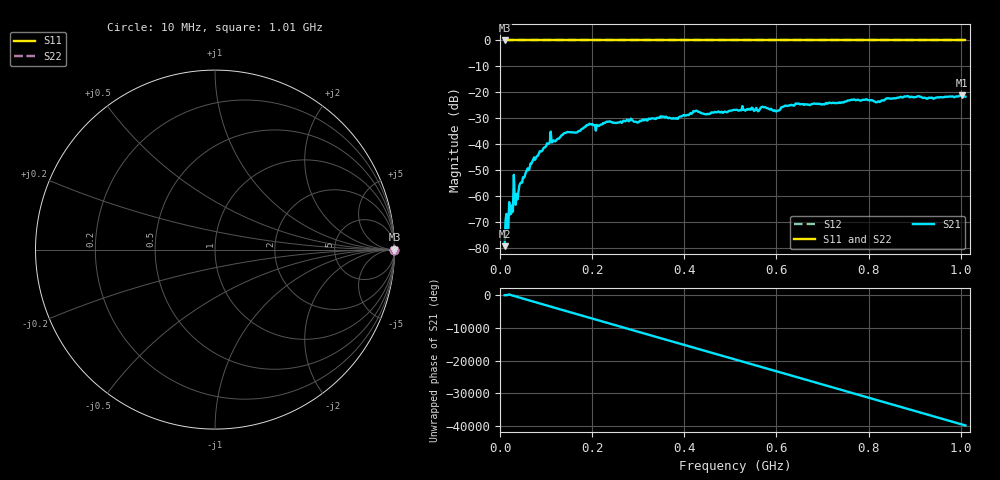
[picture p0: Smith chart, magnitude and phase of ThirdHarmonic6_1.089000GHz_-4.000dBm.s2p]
! 8/16/2025 10:05:49 AM
! C:\ANRITSUVNA\TEMP\TEMP.S2P
! CHANNEL.1
! TR.MEASUREMENT
! RAW.DATA
! RF.CORRECTION.OFF
! AVERAGING.OFF
! IF.BANDWIDTH: 5KHZ
! SWEEPTYPE:  FREQ.SWEEP(Linear)
! Reference Plane Port Info
! PORT:  PORT1  PORT2
! DISTANCE:  0  m  0  m
! TIME:  0  s  0  s
! PHASE.OFFSET:  0  deg.  0  deg.
! LOSS:  0  dB  0  dB
! REF.LOSS:  0  dB  0  dB
! REF.FREQ:  0  Hz  0  Hz
! Power Info
! POWER:  -20  dBm  -20  dBm
! EFF.POWER:  -20  dBm  -20  dBm
! SOURCE.ATTEN:  0  dB  0  dB
! TEST.ATTEN:  0  dB  0  dB
# GHZ S RI R 50.0
! FREQ.GHZ  S11RE  S11IM  S21RE  S21IM  S12RE  S12IM  S22RE  S22IM
!; PortSelection: Port_12
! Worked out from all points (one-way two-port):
!   501 points, 10 MHz to 1.01 GHz, reference 50 ohm
!   highest |S21| = -21.17 dB at 1.002 GHz (marker M1); lowest = -79.3 dB at 10 MHz (marker M2)
!   lowest |S11| = 0.0 dB at 10 MHz (marker M3)
!   |S11| at or under -10 dB: nowhere
!   |S22| runs from 0.0 to 0.0 dB; largest |S21 - S12| = 1.1
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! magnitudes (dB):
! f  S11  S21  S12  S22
! 10 MHz  0.0  -79.3  0.0  0.0
! 14 MHz  0.0  -66.9  0.0  0.0
! 16 MHz  0.0  -72.6  0.0  0.0
! 20 MHz  0.0  -62.3  0.0  0.0
! 28 MHz  0.0  -66.0  0.0  0.0
! 34 MHz  0.0  -63.4  0.0  0.0
! 36 MHz  0.0  -59.1  0.0  0.0
! 46 MHz  0.0  -54.7  0.0  0.0
! 70 MHz  0.0  -46.7  0.0  0.0
! 106 MHz  0.0  -39.7  0.0  0.0
! 178 MHz  0.0  -34.1  0.0  0.0
! 196 MHz  0.0  -32.3  0.0  0.0
! 212 MHz  0.0  -32.8  0.0  0.0
! 344 MHz  0.0  -29.8  0.0  0.0
! 510 MHz  0.0  -26.8  0.0  0.0
! 572 MHz  0.0  -25.7  0.0  0.0
! 602 MHz  0.0  -27.1  0.0  0.0
! 644 MHz  0.0  -24.4  0.0  0.0
! 678 MHz  0.0  -24.5  0.0  0.0
! 844 MHz  0.0  -22.3  0.0  0.0
! 1.002 GHz  0.0  -21.2  0.0  0.0
! 1.01 GHz  0.0  -21.7  0.0  0.0
